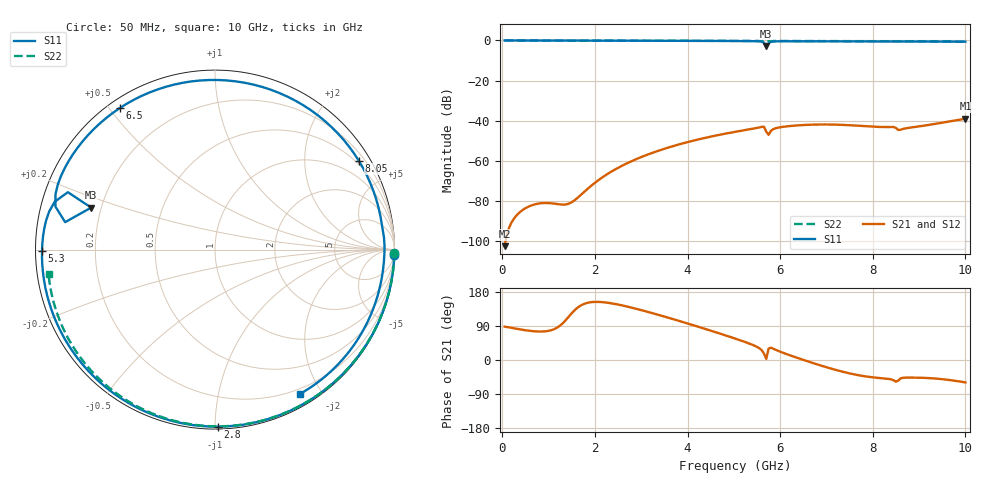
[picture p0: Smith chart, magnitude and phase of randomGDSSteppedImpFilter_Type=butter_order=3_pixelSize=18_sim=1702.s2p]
! freq	dB(S11)	phase(S11)	dB(S12)	phase(S12)
!  dB(S21)	phase(S21)	dB(S22)	phase(S22)
!S-par simulation data
#  GHz  S  DB  R 50
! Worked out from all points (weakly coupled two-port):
!   200 points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, 50 MHz to 10 GHz, reference 50 ohm
!   highest |S21| = -39.00 dB at 10 GHz (marker M1); lowest = -102.6 dB at 50 MHz (marker M2)
!   lowest |S11| = -2.8 dB at 5.7 GHz (marker M3), VSWR 6.37, Z = 8.06 + j8.04 ohm
!   |S11| at or under -10 dB: nowhere
!   |S22| runs from -0.6 to 0.0 dB; largest |S21 - S12| = 0
!   S11 on the Smith chart (normalised r, x): 50 MHz: 1, -70; 2.8 GHz: 0.01, -1.02; 5.3 GHz: 0.02, -0.00; 6.5 GHz: 0.03, +0.53; 8.05 GHz: 0.40, +3.48; 10 GHz: 0.14, -1.74
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0.05  -0.00 -1.6  -102.59 87.9  -102.59 87.9  -0.00 -1.0
0.75  -0.03 -24.0  -81.48 75.3  -81.48 75.3  -0.02 -14.9
1.55  -0.06 -49.4  -79.89 129.9  -79.89 129.9  -0.04 -30.5
1.75  -0.07 -55.7  -75.90 147.2  -75.90 147.2  -0.04 -34.3
2.25  -0.09 -71.6  -66.90 151.5  -66.90 151.5  -0.06 -43.8
2.8  -0.12 -89.1  -60.11 138.0  -60.11 138.0  -0.07 -54.0
3.4  -0.15 -108.6  -54.77 118.2  -54.77 118.2  -0.09 -64.9
4.2  -0.20 -136.0  -49.54 89.0  -49.54 89.0  -0.11 -78.9
5.05  -0.28 -168.7  -45.48 55.7  -45.48 55.7  -0.14 -93.2
5.3  -0.32 -179.7  -44.47 45.0  -44.47 45.0  -0.15 -97.4
5.6  -0.61 163.4  -43.11 26.1  -43.11 26.1  -0.17 -102.2
5.7  -2.75 161.3  -45.47 2.9  -45.47 2.9  -0.17 -103.9
5.75  -1.42 169.6  -47.05 29.8  -47.05 29.8  -0.18 -104.7
5.85  -0.53 160.9  -44.26 29.8  -44.26 29.8  -0.18 -106.3
6.5  -0.44 124.0  -42.17 0.3  -42.17 0.3  -0.22 -116.6
6.7  -0.46 112.6  -41.98 -7.7  -41.98 -7.7  -0.23 -119.7
7.35  -0.50 73.8  -42.10 -31.0  -42.10 -31.0  -0.28 -129.9
8.05  -0.52 31.7  -43.04 -46.4  -43.04 -46.4  -0.34 -140.7
8.35  -0.53 14.7  -43.17 -50.1  -43.17 -50.1  -0.37 -145.4
8.55  -0.50 4.2  -44.67 -54.2  -44.67 -54.2  -0.39 -148.5
9.05  -0.53 -20.9  -42.70 -46.9  -42.70 -46.9  -0.44 -156.4
10  -0.60 -59.6  -39.00 -59.2  -39.00 -59.2  -0.56 -171.7
